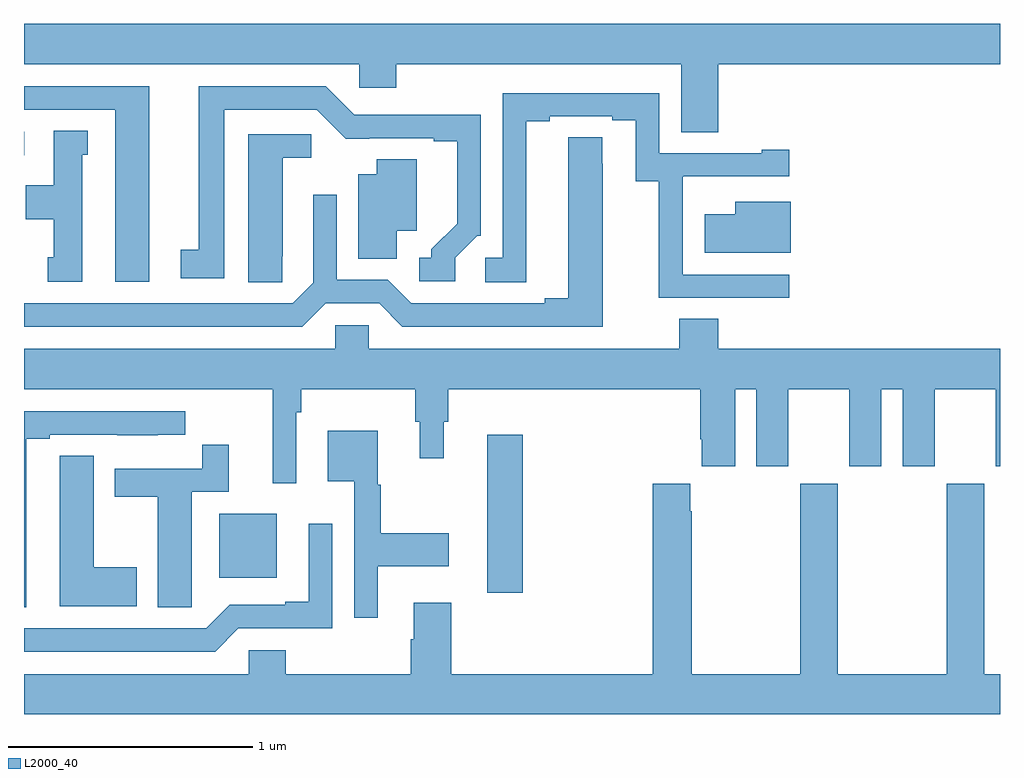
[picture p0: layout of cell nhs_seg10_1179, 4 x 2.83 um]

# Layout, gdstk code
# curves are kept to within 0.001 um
import gdstk
lib = gdstk.Library(unit=1e-6, precision=1e-09)
def R(c, l, rs):  # rectangles x0, y0, x1, y1
    for r in rs: c.add(gdstk.rectangle(r[:2], r[2:], *l))
def P(c, l, *ps):  # polygons
    for p in ps: c.add(gdstk.Polygon(p, *l))
L2000_40 = (2000, 40)

nhs_seg10_1179 = lib.new_cell('nhs_seg10_1179')
R(nhs_seg10_1179, L2000_40, [(172.898,1303.476,173.045,1304.125), (171.8,1303.538,172.036,1303.801), (171,1305.27,171.001,1305.366)])
P(nhs_seg10_1179, L2000_40, [(173.846,1305.644),(175,1305.644),(175,1305.808),(171,1305.808),(171,1305.644),(172.374,1305.644),(172.374,1305.546),(172.526,1305.546),(172.526,1305.644),(173.693,1305.644),(173.693,1305.364),(173.846,1305.364)],
  [(171.514,1305.552),(171,1305.552),(171,1305.456),(171.374,1305.456),(171.374,1304.751),(171.514,1304.751)],
  [(172.767,1304.85),(172.857,1304.94),(172.872,1304.94),(172.872,1305.437),(172.609,1305.437),(172.609,1305.435),(172.353,1305.435),(172.236,1305.552),(171.716,1305.552),(171.716,1304.882),(171.642,1304.882),(171.642,1304.766),(171.82,1304.766),(171.82,1305.456),(172.2,1305.456),(172.318,1305.338),(172.679,1305.339),(172.679,1305.327),(172.775,1305.327),(172.775,1304.99),(172.67,1304.885),(172.67,1304.85),(172.62,1304.85),(172.62,1304.754),(172.767,1304.754)],
  [(174.136,1304.781),(173.7,1304.781),(173.7,1305.182),(173.702,1305.182),(173.702,1305.183),(174.136,1305.183),(174.136,1305.292),(174.023,1305.292),(174.023,1305.279),(173.604,1305.279),(173.604,1305.525),(172.962,1305.525),(172.962,1304.85),(172.89,1304.85),(172.89,1304.749),(173.059,1304.749),(173.059,1305.409),(173.155,1305.409),(173.155,1305.429),(173.411,1305.429),(173.411,1305.414),(173.507,1305.414),(173.507,1305.163),(173.602,1305.163),(173.602,1304.685),(174.136,1304.685)],
  [(171.238,1305.273),(171.262,1305.273),(171.262,1305.371),(171.122,1305.371),(171.122,1305.148),(171.008,1305.148),(171.008,1305.008),(171.122,1305.008),(171.122,1304.853),(171.098,1304.853),(171.098,1304.751),(171.238,1304.751)],
  [(172.059,1304.857),(172.06,1304.857),(172.06,1305.26),(172.177,1305.26),(172.177,1305.357),(171.92,1305.357),(171.92,1304.749),(172.059,1304.749)],
  [(172.237,1304.664),(172.455,1304.664),(172.551,1304.568),(173.371,1304.568),(173.37,1305.344),(173.231,1305.344),(173.231,1304.684),(173.135,1304.684),(173.135,1304.664),(172.587,1304.664),(172.491,1304.76),(172.281,1304.76),(172.281,1305.109),(172.185,1305.109),(172.185,1304.748),(172.101,1304.664),(171,1304.664),(171,1304.568),(172.141,1304.568)],
  [(172.528,1304.96),(172.609,1304.96),(172.609,1305.254),(172.445,1305.254),(172.445,1305.193),(172.37,1305.193),(172.37,1304.845),(172.528,1304.845)],
  [(174.142,1305.079),(173.915,1305.079),(173.915,1305.028),(173.79,1305.028),(173.79,1304.87),(174.142,1304.87)],
  [(172.116,1304.216),(172.136,1304.216),(172.136,1304.312),(172.603,1304.312),(172.603,1304.178),(172.622,1304.178),(172.622,1304.028),(172.72,1304.028),(172.72,1304.178),(172.739,1304.178),(172.739,1304.312),(173.771,1304.312),(173.771,1304.107),(173.777,1304.107),(173.777,1303.995),(173.914,1303.995),(173.914,1304.312),(174.002,1304.312),(174.002,1303.995),(174.133,1303.995),(174.133,1304.312),(174.383,1304.312),(174.383,1303.995),(174.514,1303.995),(174.514,1304.312),(174.602,1304.312),(174.602,1303.995),(174.733,1303.995),(174.733,1304.312),(174.983,1304.312),(174.983,1303.995),(175,1303.995),(175,1304.476),(173.846,1304.476),(173.846,1304.6),(173.686,1304.6),(173.686,1304.476),(172.413,1304.476),(172.413,1304.574),(172.275,1304.574),(172.275,1304.476),(171,1304.476),(171,1304.312),(172.019,1304.312),(172.019,1303.926),(172.116,1303.926)],
  [(171.01,1304.109),(171.106,1304.109),(171.106,1304.124),(171.382,1304.124),(171.382,1304.123),(171.548,1304.123),(171.548,1304.124),(171.661,1304.124),(171.661,1304.22),(171,1304.22),(171,1303.417),(171.01,1303.417)],
  [(172.45,1303.586),(172.741,1303.586),(172.741,1303.721),(172.462,1303.721),(172.462,1303.92),(172.45,1303.92),(172.45,1304.14),(172.244,1304.14),(172.244,1303.934),(172.353,1303.934),(172.353,1303.374),(172.45,1303.374)],
  [(171.687,1303.528),(171.688,1303.528),(171.688,1303.89),(171.839,1303.89),(171.839,1304.083),(171.73,1304.083),(171.73,1303.986),(171.371,1303.986),(171.371,1303.87),(171.548,1303.87),(171.548,1303.417),(171.687,1303.417)],
  [(171.463,1303.581),(171.286,1303.581),(171.286,1304.039),(171.147,1304.039),(171.147,1303.931),(171.146,1303.931),(171.146,1303.421),(171.463,1303.421)],
  [(175,1303.144),(174.936,1303.144),(174.936,1303.924),(174.781,1303.924),(174.781,1303.144),(174.336,1303.144),(174.336,1303.924),(174.181,1303.924),(174.181,1303.144),(173.736,1303.144),(173.736,1303.811),(173.731,1303.811),(173.731,1303.924),(173.576,1303.924),(173.576,1303.144),(172.751,1303.144),(172.751,1303.435),(172.598,1303.435),(172.598,1303.286),(172.586,1303.286),(172.586,1303.144),(172.073,1303.144),(172.073,1303.242),(171.921,1303.242),(171.921,1303.144),(171,1303.144),(171,1302.98),(175,1302.98)],
  [(171.879,1303.332),(172.263,1303.332),(172.263,1303.759),(172.166,1303.759),(172.166,1303.441),(172.07,1303.441),(172.07,1303.428),(171.843,1303.428),(171.747,1303.332),(171,1303.332),(171,1303.236),(171.783,1303.236)])

lib.write_gds('nhs_seg10_1179.gds')
